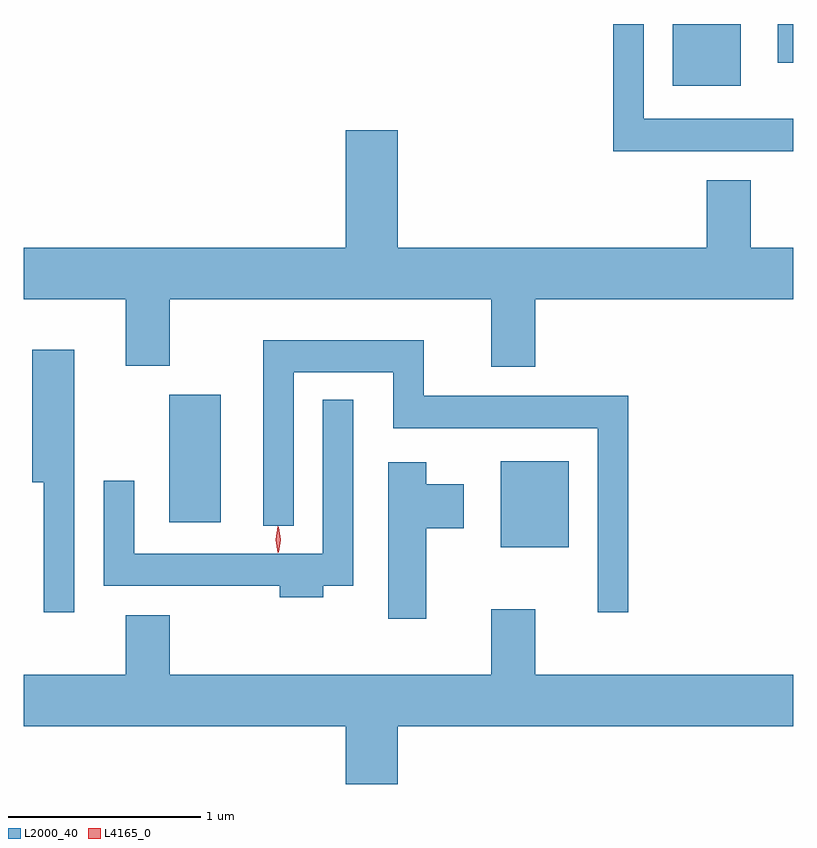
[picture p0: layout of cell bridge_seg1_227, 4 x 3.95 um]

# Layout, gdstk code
import gdstk
lib = gdstk.Library(unit=1e-6, precision=1e-09)
def R(c, l, rs):  # rectangles x0, y0, x1, y1
    for r in rs: c.add(gdstk.rectangle(r[:2], r[2:], *l))
def P(c, l, *ps):  # polygons
    for p in ps: c.add(gdstk.Polygon(p, *l))
L2000_40 = (2000, 40)
L4165_0 = (4165, 0)

bridge_seg1_227 = lib.new_cell('bridge_seg1_227')
R(bridge_seg1_227, L2000_40, [(835.261,873.866,835.614,874.314), (833.536,873.996,833.804,874.659), (836.156,876.266,836.509,876.587), (836.701,876.386,836.781,876.587)])
P(bridge_seg1_227, L2000_40, [(836.781,876.094),(836.004,876.094),(836.004,876.587),(835.846,876.587),(835.846,875.926),(836.781,875.926)],
  [(835.439,875.156),(836.781,875.156),(836.781,875.424),(836.559,875.424),(836.559,875.774),(836.331,875.774),(836.331,875.424),(834.724,875.424),(834.724,876.034),(834.456,876.034),(834.456,875.424),(832.781,875.424),(832.781,875.156),(833.311,875.156),(833.311,874.811),(833.539,874.811),(833.539,875.156),(835.211,875.156),(835.211,874.806),(835.439,874.806)],
  [(835.924,874.654),(834.859,874.654),(834.859,874.944),(834.026,874.944),(834.026,873.978),(834.184,873.978),(834.184,874.776),(834.701,874.776),(834.701,874.486),(835.766,874.486),(835.766,873.528),(835.924,873.528)],
  [(833.044,874.894),(832.826,874.894),(832.826,874.206),(832.886,874.206),(832.886,873.528),(833.044,873.528)],
  [(834.339,873.666),(834.494,873.666),(834.494,874.633),(834.336,874.633),(834.336,873.834),(833.354,873.834),(833.354,874.213),(833.196,874.213),(833.196,873.666),(834.111,873.666),(834.111,873.606),(834.339,873.606)],
  [(834.874,873.966),(835.069,873.966),(835.069,874.194),(834.874,874.194),(834.874,874.309),(834.676,874.309),(834.676,873.496),(834.874,873.496)],
  [(834.724,872.936),(836.781,872.936),(836.781,873.204),(835.439,873.204),(835.439,873.544),(835.211,873.544),(835.211,873.204),(833.539,873.204),(833.539,873.514),(833.311,873.514),(833.311,873.204),(832.781,873.204),(832.781,872.936),(834.456,872.936),(834.456,872.636),(834.724,872.636)])
P(bridge_seg1_227, L4165_0, [(834.101,873.837),(834.092,873.907),(834.101,873.976),(834.102,873.976),(834.102,873.976),(834.112,873.907),(834.102,873.837),(834.102,873.837)],
  [(834.105,873.84),(834.096,873.906),(834.105,873.972),(834.105,873.973),(834.106,873.972),(834.116,873.906),(834.106,873.84),(834.106,873.84)])

lib.write_gds('bridge_seg1_227.gds')
